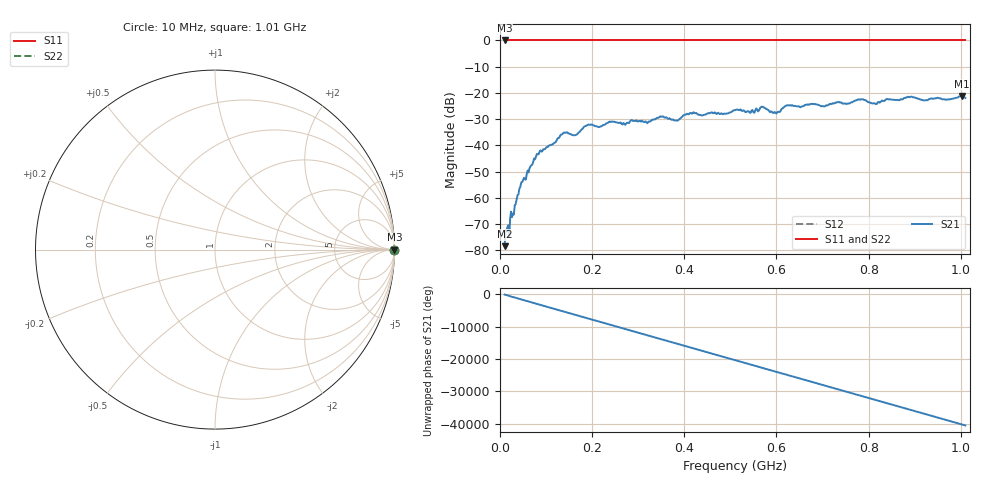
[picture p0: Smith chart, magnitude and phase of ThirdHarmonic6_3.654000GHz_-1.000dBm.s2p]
! 8/17/2025 12:18:38 PM
! C:\ANRITSUVNA\TEMP\TEMP.S2P
! CHANNEL.1
! TR.MEASUREMENT
! RAW.DATA
! RF.CORRECTION.OFF
! AVERAGING.OFF
! IF.BANDWIDTH: 5KHZ
! SWEEPTYPE:  FREQ.SWEEP(Linear)
! Reference Plane Port Info
! PORT:  PORT1  PORT2
! DISTANCE:  0  m  0  m
! TIME:  0  s  0  s
! PHASE.OFFSET:  0  deg.  0  deg.
! LOSS:  0  dB  0  dB
! REF.LOSS:  0  dB  0  dB
! REF.FREQ:  0  Hz  0  Hz
! Power Info
! POWER:  -20  dBm  -20  dBm
! EFF.POWER:  -20  dBm  -20  dBm
! SOURCE.ATTEN:  0  dB  0  dB
! TEST.ATTEN:  0  dB  0  dB
# GHZ S RI R 50.0
! FREQ.GHZ  S11RE  S11IM  S21RE  S21IM  S12RE  S12IM  S22RE  S22IM
!; PortSelection: Port_12
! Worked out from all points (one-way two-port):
!   501 points, 10 MHz to 1.01 GHz, reference 50 ohm
!   highest |S21| = -21.16 dB at 1.002 GHz (marker M1); lowest = -78.4 dB at 10 MHz (marker M2)
!   lowest |S11| = 0.0 dB at 10 MHz (marker M3)
!   |S11| at or under -10 dB: nowhere
!   |S22| runs from 0.0 to 0.0 dB; largest |S21 - S12| = 1.1
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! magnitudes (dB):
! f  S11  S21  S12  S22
! 10 MHz  0.0  -78.4  0.0  0.0
! 46 MHz  0.0  -54.2  0.0  0.0
! 78 MHz  0.0  -44.2  0.0  0.0
! 136 MHz  0.0  -35.6  0.0  0.0
! 162 MHz  0.0  -36.1  0.0  0.0
! 178 MHz  0.0  -33.8  0.0  0.0
! 194 MHz  0.0  -32.2  0.0  0.0
! 322 MHz  0.0  -31.0  0.0  0.0
! 344 MHz  0.0  -29.5  0.0  0.0
! 382 MHz  0.0  -30.5  0.0  0.0
! 416 MHz  0.0  -27.9  0.0  0.0
! 510 MHz  0.0  -26.6  0.0  0.0
! 548 MHz  0.0  -26.5  0.0  0.0
! 570 MHz  0.0  -25.3  0.0  0.0
! 596 MHz  0.0  -27.3  0.0  0.0
! 624 MHz  0.0  -24.7  0.0  0.0
! 678 MHz  0.0  -24.2  0.0  0.0
! 784 MHz  0.0  -22.5  0.0  0.0
! 814 MHz  0.0  -24.1  0.0  0.0
! 844 MHz  0.0  -22.5  0.0  0.0
! 1.002 GHz  0.0  -21.2  0.0  0.0
! 1.01 GHz  0.0  -21.9  0.0  0.0
